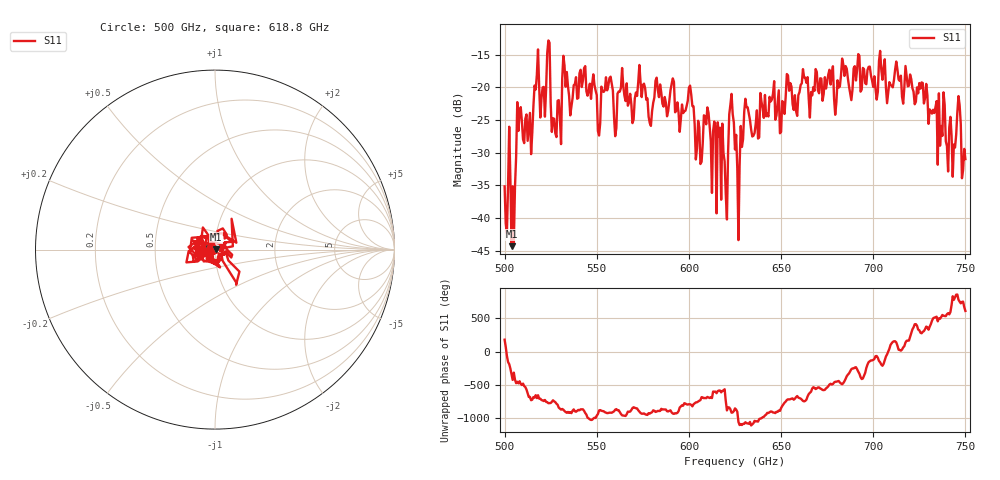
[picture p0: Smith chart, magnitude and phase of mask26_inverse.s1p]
!Created with skrf (http://scikit-rf.org).
# GHz S MA R 50.0
!freq magS11 angS11
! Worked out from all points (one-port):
!   401 points, 500 GHz to 750 GHz, reference 50 ohm
!   lowest |S11| = -44.3 dB at 503.8 GHz (marker M1), VSWR 1.01, Z = 50.6 + j0.219 ohm
!   |S11| at or under -10 dB: start of sweep to end of sweep
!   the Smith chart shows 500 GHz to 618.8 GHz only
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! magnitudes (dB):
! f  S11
! 500 GHz  -35.2
! 503.8 GHz  -44.3
! 505 GHz  -43.9
! 508.1 GHz  -23.9
! 513.8 GHz  -23.9
! 517.5 GHz  -18.1
! 520.6 GHz  -20.0
! 523.8 GHz  -12.8
! 526.9 GHz  -24.8
! 531.2 GHz  -18.6
! 556.2 GHz  -19.8
! 560.6 GHz  -26.2
! 562.5 GHz  -20.7
! 593.8 GHz  -22.3
! 601.2 GHz  -21.1
! 605.6 GHz  -26.1
! 609.4 GHz  -25.7
! 620 GHz  -36.4
! 623.1 GHz  -21.0
! 625 GHz  -29.5
! 626.2 GHz  -32.5
! 631.2 GHz  -23.0
! 656.2 GHz  -22.6
! 687.5 GHz  -21.0
! 718.8 GHz  -19.9
! 741.9 GHz  -24.5
! 746.2 GHz  -21.3
! 750 GHz  -31.0
